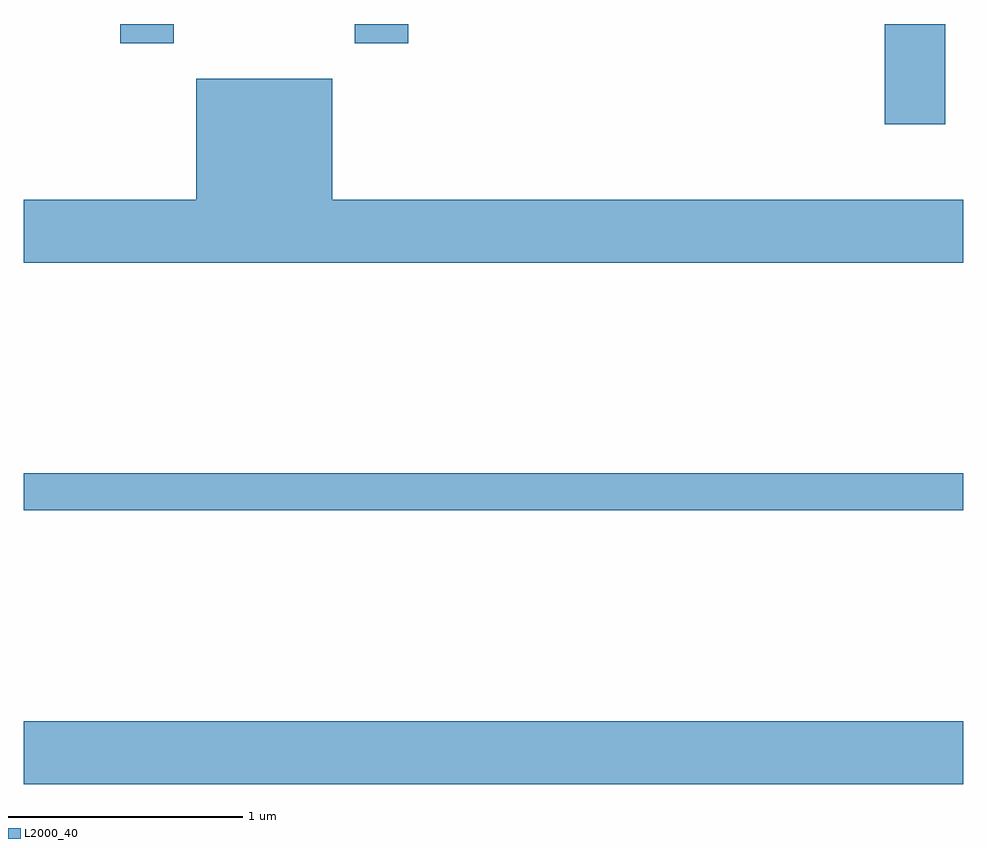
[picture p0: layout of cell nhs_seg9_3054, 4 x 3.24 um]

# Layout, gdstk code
import gdstk
lib = gdstk.Library(unit=1e-6, precision=1e-09)
def R(c, l, rs):  # rectangles x0, y0, x1, y1
    for r in rs: c.add(gdstk.rectangle(r[:2], r[2:], *l))
def P(c, l, *ps):  # polygons
    for p in ps: c.add(gdstk.Polygon(p, *l))
L2000_40 = (2000, 40)

nhs_seg9_3054 = lib.new_cell('nhs_seg9_3054')
R(nhs_seg9_3054, L2000_40, [(275.611,1945.196,279.611,1945.464), (275.611,1946.361,279.611,1946.519), (279.276,1948.006,279.534,1948.432), (276.021,1948.351,276.249,1948.432), (277.021,1948.351,277.249,1948.432)])
P(nhs_seg9_3054, L2000_40, [(279.611,1947.684),(276.924,1947.684),(276.924,1948.199),(276.346,1948.199),(276.346,1947.684),(275.611,1947.684),(275.611,1947.416),(279.611,1947.416)])

lib.write_gds('nhs_seg9_3054.gds')
